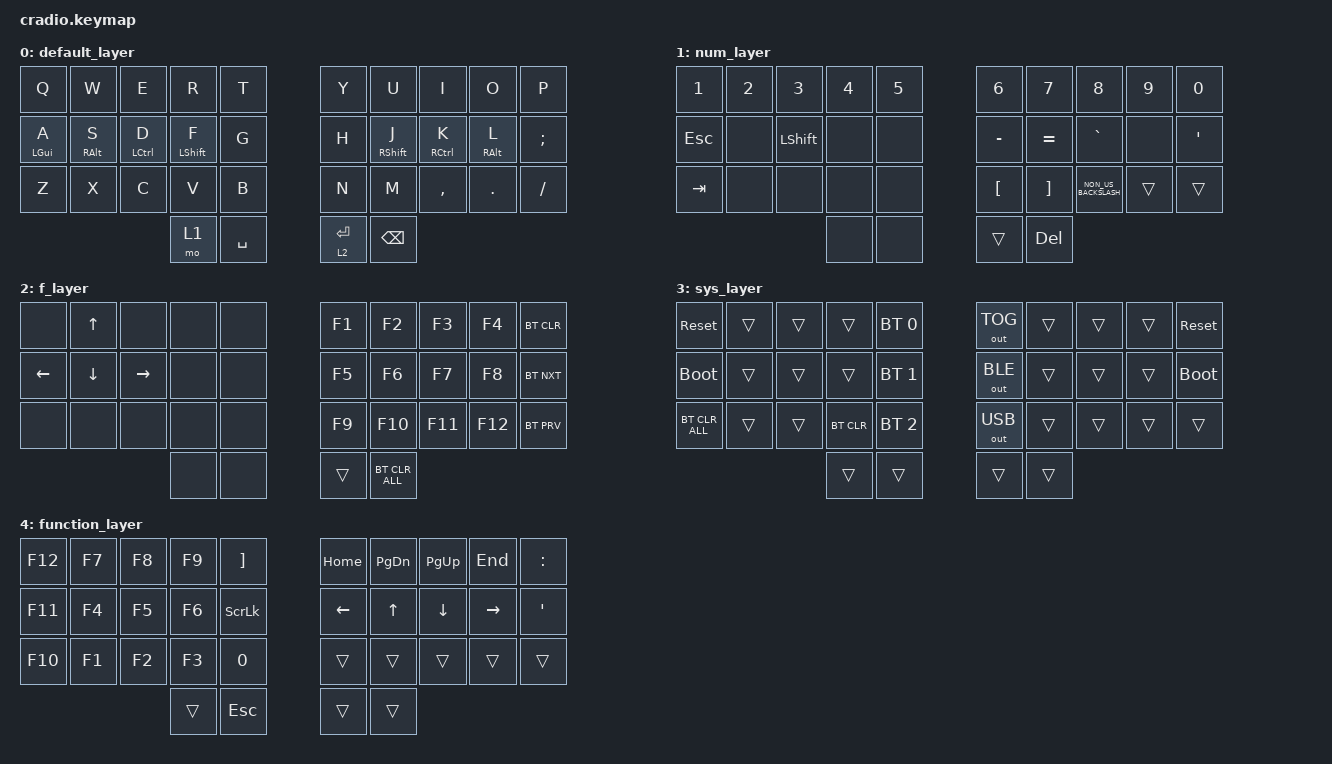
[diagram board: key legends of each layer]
// Copyright (c) 2022 The ZMK Contributors
// SPDX-License-Identifier: MIT

#include <behaviors.dtsi>
#include <dt-bindings/zmk/bt.h>
#include <dt-bindings/zmk/keys.h>
#include <dt-bindings/zmk/outputs.h>

// Layers

#define NUM_L 1
#define SYM_L 2

&lt { quick-tap-ms = <150>; };

&mt {
    tapping-term-ms = <220>;
    flavor = "tap-preferred";
};

/ {
    behaviors {
        // Left-hand home row mods — trigger only on right-hand keypress
        // Right-hand home row mods — trigger only on left-hand keypress
    };

    conditional_layers {
        compatible = "zmk,conditional-layers";

        fn_layer {
            if-layers = <1 2>;
            then-layer = <4>;
        };
    };

    combos { compatible = "zmk,combos"; };

    keymap {
        compatible = "zmk,keymap";

        default_layer {
            bindings = <
&kp Q       &kp W            &kp E        &kp R         &kp T        &kp Y        &kp U              &kp I        &kp O            &kp P
&mt LGUI A  &mt RIGHT_ALT S  &mt LCTRL D  &mt LSHIFT F  &kp G        &kp H        &mt RIGHT_SHIFT J  &mt RCTRL K  &mt RIGHT_ALT L  &kp SEMICOLON
&kp Z       &kp X            &kp C        &kp V         &kp B        &kp N        &kp M              &kp COMMA    &kp DOT          &kp FSLH
                                          &mo 1         &kp SPACE    &lt 2 ENTER  &kp BACKSPACE
            >;
        };

        num_layer {
            bindings = <
&kp NUMBER_1  &kp NUMBER_2  &kp NUMBER_3    &kp NUMBER_4  &kp N5    &kp NUMBER_6      &kp N7             &kp N8                &kp N9  &kp N0
&kp ESCAPE    &none         &kp LEFT_SHIFT  &none         &none     &kp MINUS         &kp EQUAL          &kp GRAVE             &none   &kp APOSTROPHE
&kp TAB       &none         &none           &none         &none     &kp LEFT_BRACKET  &kp RIGHT_BRACKET  &kp NON_US_BACKSLASH  &trans  &trans
                                            &none         &none     &trans            &kp DEL
            >;
        };

        f_layer {
            bindings = <
&none           &kp UP_ARROW    &none      &none  &none    &kp F1  &kp F2          &kp F3   &kp F4   &bt BT_CLR
&kp LEFT_ARROW  &kp DOWN_ARROW  &kp RIGHT  &none  &none    &kp F5  &kp F6          &kp F7   &kp F8   &bt BT_NXT
&none           &none           &none      &none  &none    &kp F9  &kp F10         &kp F11  &kp F12  &bt BT_PRV
                                           &none  &none    &trans  &bt BT_CLR_ALL
            >;
        };

        sys_layer {
            bindings = <
&sys_reset      &trans  &trans  &trans      &bt BT_SEL 0    &out OUT_TOG  &trans  &trans  &trans  &sys_reset
&bootloader     &trans  &trans  &trans      &bt BT_SEL 1    &out OUT_BLE  &trans  &trans  &trans  &bootloader
&bt BT_CLR_ALL  &trans  &trans  &bt BT_CLR  &bt BT_SEL 2    &out OUT_USB  &trans  &trans  &trans  &trans
                                &trans      &trans          &trans        &trans
            >;
        };

        function_layer {
            bindings = <
&kp F12  &kp F7  &kp F8  &kp F9  &kp RBKT          &kp HOME  &kp PG_DN  &kp PG_UP  &kp END    &kp COLON
&kp F11  &kp F4  &kp F5  &kp F6  &kp SCROLLLOCK    &kp LEFT  &kp UP     &kp DOWN   &kp RIGHT  &kp SQT
&kp F10  &kp F1  &kp F2  &kp F3  &kp N0            &trans    &trans     &trans     &trans     &trans
                         &trans  &kp ESC           &trans    &trans
            >;
        };
    };
};
